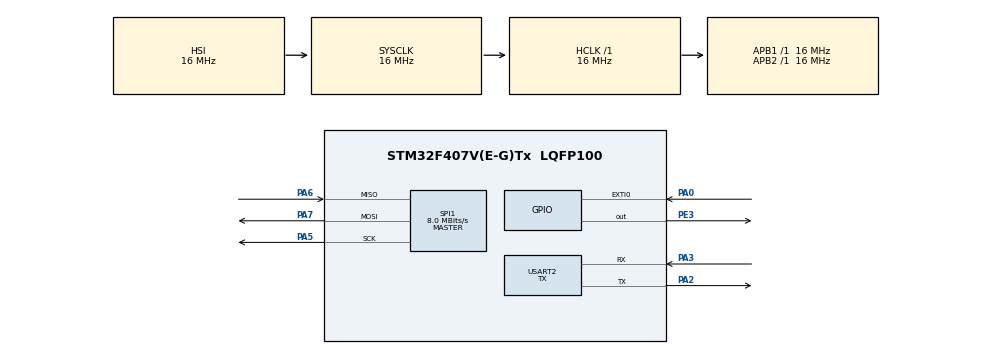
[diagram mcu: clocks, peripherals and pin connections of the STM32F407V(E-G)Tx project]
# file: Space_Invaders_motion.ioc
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Mcu.Family=STM32F4
Mcu.Name=STM32F407V(E-G)Tx
Mcu.Package=LQFP100
NVIC.PriorityGroup=NVIC_PRIORITYGROUP_4
NVIC.SPI1_IRQn=true\:0\:0\:false\:false\:true\:true
PA0-WKUP.GPIO_ModeDefaultEXTI=GPIO_MODE_IT_FALLING
PA0-WKUP.Signal=GPXTI0
PA2.Mode=Asynchronous
PA2.Signal=USART2_TX
PA3.Mode=Asynchronous
PA3.Signal=USART2_RX
PA5.Mode=Full_Duplex_Master
PA5.Signal=SPI1_SCK
PA6.Mode=Full_Duplex_Master
PA6.Signal=SPI1_MISO
PA7.Mode=Full_Duplex_Master
PA7.Signal=SPI1_MOSI
PE3.Signal=GPIO_Output
ProjectManager.HeapSize=0x200
ProjectManager.StackSize=0x400
ProjectManager.TargetToolchain=MDK-ARM V5
RCC.AHBFreq_Value=16000000
RCC.APB1Freq_Value=16000000
RCC.APB2Freq_Value=16000000
RCC.CortexFreq_Value=16000000
RCC.HSE_VALUE=25000000
RCC.HSI_VALUE=16000000
RCC.LSE_VALUE=32768
RCC.SYSCLKFreq_VALUE=16000000
RCC.VCOOutputFreq_Value=192000000
SPI1.CalculateBaudRate=8.0 MBits/s
SPI1.Direction=SPI_DIRECTION_2LINES
SPI1.Mode=SPI_MODE_MASTER
SPI1.VirtualType=VM_MASTER
USART2.Mode=MODE_TX
USART2.VirtualMode=VM_ASYNC
board=Space_Invaders_motion

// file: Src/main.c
/**
  ******************************************************************************
  * @file           : main.c
  * @brief          : Main program body
  ******************************************************************************
  ** This notice applies to any and all portions of this file
  * that are not between comment pairs USER CODE BEGIN and
  * USER CODE END. Other portions of this file, whether
  * inserted by the user or by software development tools
  * are owned by their respective copyright owners.
  *
  * COPYRIGHT(c) 2019 STMicroelectronics
  *
  * Redistribution and use in source and binary forms, with or without modification,
  * are permitted provided that the following conditions are met:
  *   1. Redistributions of source code must retain the above copyright notice,
  *      this list of conditions and the following disclaimer.
  *   2. Redistributions in binary form must reproduce the above copyright notice,
  *      this list of conditions and the following disclaimer in the documentation
  *      and/or other materials provided with the distribution.
  *   3. Neither the name of STMicroelectronics nor the names of its contributors
  *      may be used to endorse or promote products derived from this software
  *      without specific prior written permission.
  *
  * THIS SOFTWARE IS PROVIDED BY THE COPYRIGHT HOLDERS AND CONTRIBUTORS "AS IS"
  * AND ANY EXPRESS OR IMPLIED WARRANTIES, INCLUDING, BUT NOT LIMITED TO, THE
  * IMPLIED WARRANTIES OF MERCHANTABILITY AND FITNESS FOR A PARTICULAR PURPOSE ARE
  * DISCLAIMED. IN NO EVENT SHALL THE COPYRIGHT HOLDER OR CONTRIBUTORS BE LIABLE
  * FOR ANY DIRECT, INDIRECT, INCIDENTAL, SPECIAL, EXEMPLARY, OR CONSEQUENTIAL
  * DAMAGES (INCLUDING, BUT NOT LIMITED TO, PROCUREMENT OF SUBSTITUTE GOODS OR
  * SERVICES; LOSS OF USE, DATA, OR PROFITS; OR BUSINESS INTERRUPTION) HOWEVER
  * CAUSED AND ON ANY THEORY OF LIABILITY, WHETHER IN CONTRACT, STRICT LIABILITY,
  * OR TORT (INCLUDING NEGLIGENCE OR OTHERWISE) ARISING IN ANY WAY OUT OF THE USE
  * OF THIS SOFTWARE, EVEN IF ADVISED OF THE POSSIBILITY OF SUCH DAMAGE.
  *
  ******************************************************************************
  */
#include "main.h"
#include "stm32f4xx_hal.h"
#include "spi.h"
#include "usart.h"
#include "gpio.h"

/* USER CODE BEGIN Includes */
#include "../MDK-ARM/affichage.h"
#include "../MDK-ARM/game.h"
/* USER CODE END Includes */

/* USER CODE BEGIN PV */
/* Private variables ---------------------------------------------------------*/
#define NB_MONSTER 50

Shooter a_shooter;
/* USER CODE END PV */

void SystemClock_Config(void);

/* USER CODE BEGIN PFP */
/* Private function prototypes -----------------------------------------------*/

/* USER CODE END PFP */

int main(void)
{

  /* MCU Configuration----------------------------------------------------------*/

  /* Reset of all peripherals, Initializes the Flash interface and the Systick. */
  HAL_Init();

  /* USER CODE BEGIN Init */
	__HAL_RCC_SPI1_CLK_ENABLE();
  /* USER CODE END Init */

  /* Configure the system clock */
  SystemClock_Config();

  /* Initialize all configured peripherals */
  MX_GPIO_Init();
  MX_SPI1_Init();
  MX_USART2_UART_Init();
  /* USER CODE BEGIN 2 */

	/* Config Interruption */
	HAL_NVIC_SetPriority(EXTI0_IRQn, 5, 5);
	HAL_NVIC_EnableIRQ(EXTI0_IRQn);

	clear_screen(&huart2);

	/* Création de monstres */
	uint8_t nb_rows = 2;
	uint8_t nb_columns = 50;

	Monster tab_monsters[nb_rows*nb_columns];
	for (int x=0 ; x<nb_rows ; x++){
		for (int y=0 ; y < nb_columns ; y++){
			tab_monsters[y*nb_columns + x] = initialisation_monster(x*10, y*2, 1, 0x7C);
		}
	}

	/*Monster tab_monster[3];
	tab_monster[0] = initialisation_monster(4, 2, 1, 'a');
	tab_monster[1] = initialisation_monster(2, 4, 1, 'a');
	tab_monster[2] = initialisation_monster(2, 2, 1, 'a');*/

	/* affichage des monstres --> bug chelou au niveau de l'affichage */
	for(uint8_t index = 0 ; index < NB_MONSTER ; index++){
		if(tab_monsters[index]._state == 1){
			positioning_cursor(&huart2, tab_monsters[index]._position._x, tab_monsters[index]._position._y);
			HAL_UART_Transmit(&huart2, (uint8_t*) tab_monsters[index]._type, 1, 1);
			HAL_Delay(75);
		}
	}

	/* Création shooter */
	a_shooter = init_shooter();

	HAL_Delay(500);

	/* Et on l'affiche */
	positioning_cursor(&huart2, a_shooter._position._x, a_shooter._position._y);
	HAL_UART_Transmit(&huart2, (uint8_t*)0x84, 1, 1);

	//clear_screen(&huart2);
  /* USER CODE END 2 */

  /* Infinite loop */
  /* USER CODE BEGIN WHILE */
  while (1)
  {
		/* Déplacement missile */
		for(uint8_t index = 0 ; index < NB_MONSTER ; index++){
			if(tab_monsters[index]._state == 1){
				positioning_cursor(&huart2, tab_monsters[index]._position._x, tab_monsters[index]._position._y);
				HAL_UART_Transmit(&huart2, (uint8_t*) tab_monsters[index]._type, 1, 1);
			}
		}
		if(a_shooter._state_shoot){
			positioning_cursor(&huart2, a_shooter._p_missile._x, a_shooter._p_missile._y);
			HAL_UART_Transmit(&huart2, (uint8_t*)0x08, 1, 1);
			if(a_shooter._p_missile._y == 0){
				a_shooter._state_shoot = 0;
				a_shooter._p_missile._y = 39;
				continue;
			}
			a_shooter._p_missile._y -= 1;
			for (int i=0 ; i < NB_MONSTER ; i++){
				if (a_shooter._p_missile._x == tab_monsters[i]._position._x && a_shooter._position._y == tab_monsters[i]._position._y){
					tab_monsters[i]._life -= 1;
					if (!tab_monsters[i]._life)
						tab_monsters[i]._state = 0;
					a_shooter._state_shoot = 0;
					a_shooter._p_missile._y = 39;
					break;
				}
			}
			positioning_cursor(&huart2, a_shooter._p_missile._x, a_shooter._p_missile._y);
			HAL_UART_Transmit(&huart2, (uint8_t*) 0x7C, 1, 1);
		}
		HAL_Delay(25);
	/* USER CODE END WHILE */

  }

}

void SystemClock_Config(void)
{

  RCC_OscInitTypeDef RCC_OscInitStruct;
  RCC_ClkInitTypeDef RCC_ClkInitStruct;

    /**Configure the main internal regulator output voltage
    */
  __HAL_RCC_PWR_CLK_ENABLE();

  __HAL_PWR_VOLTAGESCALING_CONFIG(PWR_REGULATOR_VOLTAGE_SCALE1);

    /**Initializes the CPU, AHB and APB busses clocks
    */
  RCC_OscInitStruct.OscillatorType = RCC_OSCILLATORTYPE_HSI;
  RCC_OscInitStruct.HSIState = RCC_HSI_ON;
  RCC_OscInitStruct.HSICalibrationValue = 16;
  RCC_OscInitStruct.PLL.PLLState = RCC_PLL_NONE;
  if (HAL_RCC_OscConfig(&RCC_OscInitStruct) != HAL_OK)
  {
    _Error_Handler(__FILE__, __LINE__);
  }

    /**Initializes the CPU, AHB and APB busses clocks
    */
  RCC_ClkInitStruct.ClockType = RCC_CLOCKTYPE_HCLK|RCC_CLOCKTYPE_SYSCLK
                              |RCC_CLOCKTYPE_PCLK1|RCC_CLOCKTYPE_PCLK2;
  RCC_ClkInitStruct.SYSCLKSource = RCC_SYSCLKSOURCE_HSI;
  RCC_ClkInitStruct.AHBCLKDivider = RCC_SYSCLK_DIV1;
  RCC_ClkInitStruct.APB1CLKDivider = RCC_HCLK_DIV1;
  RCC_ClkInitStruct.APB2CLKDivider = RCC_HCLK_DIV1;

  if (HAL_RCC_ClockConfig(&RCC_ClkInitStruct, FLASH_LATENCY_0) != HAL_OK)
  {
    _Error_Handler(__FILE__, __LINE__);
  }

    /**Configure the Systick interrupt time
    */
  HAL_SYSTICK_Config(HAL_RCC_GetHCLKFreq()/1000);

    /**Configure the Systick
    */
  HAL_SYSTICK_CLKSourceConfig(SYSTICK_CLKSOURCE_HCLK);

  /* SysTick_IRQn interrupt configuration */
  HAL_NVIC_SetPriority(SysTick_IRQn, 0, 0);
}

/* USER CODE BEGIN 4 */

void EXTI0_IRQHandler(void)
{
	HAL_GPIO_EXTI_IRQHandler(GPIO_PIN_0);
}

void HAL_GPIO_EXTI_Callback(uint16_t GPIO_Pin)
{
	a_shooter._state_shoot = 1;
}

/* USER CODE END 4 */

void _Error_Handler(char *file, int line)
{
  while(1)
  {
  }
}

/************************ (C) COPYRIGHT STMicroelectronics *****END OF FILE****/
